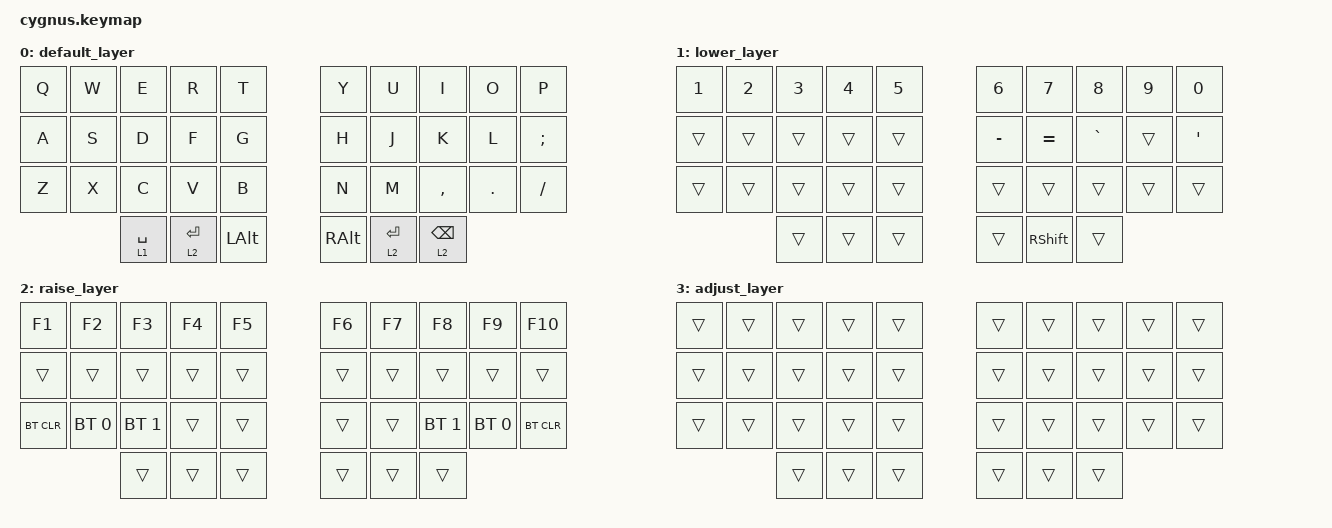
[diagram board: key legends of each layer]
/*
 * Copyright (c) 2020 The ZMK Contributors
 *
 * SPDX-License-Identifier: MIT
 */

#include <behaviors.dtsi>
#include <dt-bindings/zmk/bt.h>
#include <dt-bindings/zmk/keys.h>

&mt {
    tapping-term-ms = <200>;
    flavor = "tap-preferred";
};

&sk {
    release-after-ms = <2000>;
    quick-release;
};

/ {
    combos {
        compatible = "zmk,combos";

        left_bkt {
            bindings = <&kp LBKT>;
            key-positions = <3 2>;
            timeout-ms = <50>;
        };

        right_bkt {
            bindings = <&kp RBKT>;
            key-positions = <6 7>;
            timeout-ms = <50>;
        };

        left_par {
            bindings = <&kp LEFT_PARENTHESIS>;
            key-positions = <12 13>;
            timeout-ms = <50>;
        };

        right_par {
            bindings = <&kp RIGHT_PARENTHESIS>;
            key-positions = <16 17>;
            timeout-ms = <50>;
        };

        left_brace {
            bindings = <&kp LEFT_BRACE>;
            key-positions = <23 22>;
            timeout-ms = <50>;
        };

        right_brace {
            bindings = <&kp RIGHT_BRACE>;
            key-positions = <26 27>;
            timeout-ms = <50>;
        };

        bac {
            bindings = <&kp BACKSLASH>;
            key-positions = <4 5>;
        };

        pipe {
            bindings = <&kp PIPE>;
            key-positions = <14 15>;
        };
    };

    behaviors {
        hm: homerow_mods {
            compatible = "zmk,behavior-hold-tap";
            label = "HOMEROW_MODS";
            #binding-cells = <2>;
            tapping-term-ms = <200>;
            quick_tap_ms = <0>;
            flavor = "tap-preferred";
            bindings = <&kp>, <&kp>;

            quick-tap-ms = <180>;
            global-quick-tap;
        };

        ltq: ltq {
            compatible = "zmk,behavior-hold-tap";
            label = "LTQ";
            #binding-cells = <2>;
            tapping-term-ms = <200>;
            quick_tap_ms = <0>;
            flavor = "hold-preferred";
            bindings = <&mo>, <&kp>;

            quick-tap-ms = <180>;
            global-quick-tap;
        };
    };

    keymap {
        compatible = "zmk,keymap";

        default_layer {
            bindings = <
&kp Q               &kp W               &kp E            &kp R  &kp T     &kp Y                          &kp U  &kp I      &kp O       &kp P
&kp A               &kp S               &kp D            &kp F  &kp G     &kp H                          &kp J  &kp K      &kp L       &kp SEMI
&kp Z               &kp X               &kp C            &kp V  &kp B     &kp N                          &kp M  &kp COMMA  &kp PERIOD  &kp FSLH
       &lt 1 SPACE         &lt 2 ENTER         &kp LALT         &kp RALT  &lt 2 ENTER  &ltq 2 BACKSPACE
            >;
        };

        lower_layer {
            bindings = <
&kp N1          &kp N2          &kp N3          &kp N4  &kp N5  &kp N6             &kp N7     &kp N8     &kp N9  &kp N0
&trans          &trans          &trans          &trans  &trans  &kp MINUS          &kp EQUAL  &kp GRAVE  &trans  &kp SQT
&trans          &trans          &trans          &trans  &trans  &trans             &trans     &trans     &trans  &trans
        &trans          &trans          &trans          &trans  &kp RSHFT  &trans
            >;
        };

        raise_layer {
            bindings = <
&kp F1              &kp F2                &kp F3                &kp F4  &kp F5  &kp F6          &kp F7  &kp F8        &kp F9        &kp F10
&trans              &trans                &trans                &trans  &trans  &trans          &trans  &trans        &trans        &trans
&bt BT_CLR          &bt BT_SEL 0          &bt BT_SEL 1          &trans  &trans  &trans          &trans  &bt BT_SEL 1  &bt BT_SEL 0  &bt BT_CLR
            &trans                &trans                &trans          &trans  &trans  &trans
            >;
        };

        adjust_layer {
            bindings = <
&trans          &trans          &trans          &trans  &trans  &trans          &trans  &trans  &trans  &trans
&trans          &trans          &trans          &trans  &trans  &trans          &trans  &trans  &trans  &trans
&trans          &trans          &trans          &trans  &trans  &trans          &trans  &trans  &trans  &trans
        &trans          &trans          &trans          &trans  &trans  &trans
            >;
        };
    };
};
